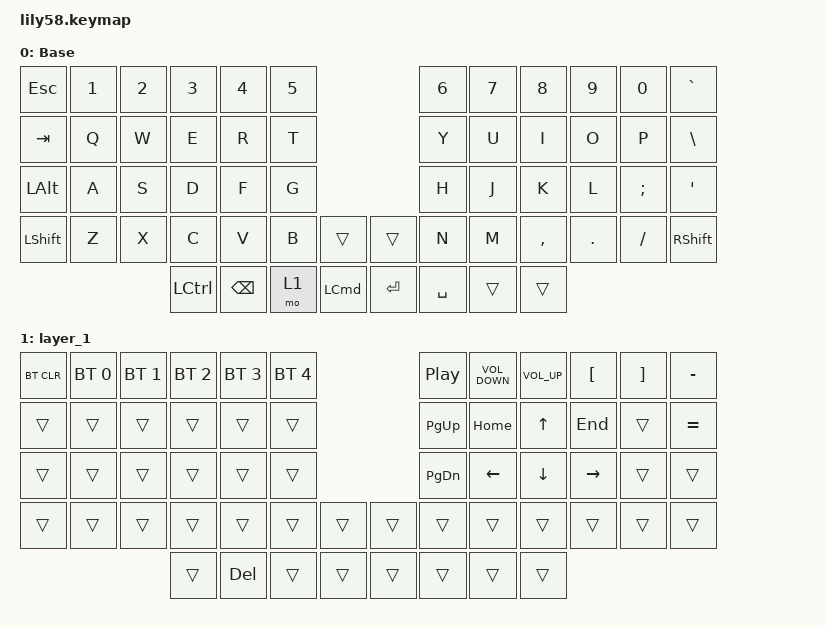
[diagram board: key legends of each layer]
/*
 * Copyright (c) 2020 The ZMK Contributors
 *
 * SPDX-License-Identifier: MIT
 */

#include <behaviors.dtsi>
#include <dt-bindings/zmk/bt.h>
#include <dt-bindings/zmk/keys.h>

/ {
    keymap {
        compatible = "zmk,keymap";

        layer_0 {
            // ------------------------------------------------------------------------------------------------------------
            // |  ESC  |  1  |  2  |  3   |  4   |  5   |                   |  6   |  7    |  8    |  9   |   0   |   `   |
            // |  TAB  |  Q  |  W  |  E   |  R   |  T   |                   |  Y   |  U    |  I    |  O   |   P   |   -   |
            // |  CTRL |  A  |  S  |  D   |  F   |  G   |                   |  H   |  J    |  K    |  L   |   ;   |   '   |
            // | SHIFT |  Z  |  X  |  C   |  V   |  B   |   "["  |  |  "]"  |  N   |  M    |  ,    |  .   |   /   | SHIFT |
            //                     | ALT  | GUI  | LOWER|  SPACE |  | ENTER | RAISE| BSPC  | GUI   |

            label = "Base";
            bindings = <
&kp ESC       &kp N1  &kp N2  &kp N3            &kp N4         &kp N5                                 &kp N6     &kp N7  &kp N8     &kp N9   &kp N0    &kp GRAVE
&kp TAB       &kp Q   &kp W   &kp E             &kp R          &kp T                                  &kp Y      &kp U   &kp I      &kp O    &kp P     &kp BACKSLASH
&kp LEFT_ALT  &kp A   &kp S   &kp D             &kp F          &kp G                                  &kp H      &kp J   &kp K      &kp L    &kp SEMI  &kp SQT
&kp LSHFT     &kp Z   &kp X   &kp C             &kp V          &kp B   &trans              &trans     &kp N      &kp M   &kp COMMA  &kp DOT  &kp FSLH  &kp RSHFT
                              &kp LEFT_CONTROL  &kp BACKSPACE  &mo 1   &kp LEFT_COMMAND    &kp ENTER  &kp SPACE  &trans  &trans
            >;
        };

        layer_1 {
            bindings = <
&bt BT_CLR  &bt BT_SEL 0  &bt BT_SEL 1  &bt BT_SEL 2  &bt BT_SEL 3  &bt BT_SEL 4                    &kp C_PLAY_PAUSE  &kp C_VOLUME_DOWN  &kp C_VOLUME_UP  &kp LEFT_BRACKET  &kp RIGHT_BRACKET  &kp MINUS
&trans      &trans        &trans        &trans        &trans        &trans                          &kp PAGE_UP       &kp HOME           &kp UP           &kp END           &trans             &kp EQUAL
&trans      &trans        &trans        &trans        &trans        &trans                          &kp PAGE_DOWN     &kp LEFT           &kp DOWN         &kp RIGHT         &trans             &trans
&trans      &trans        &trans        &trans        &trans        &trans        &trans    &trans  &trans            &trans             &trans           &trans            &trans             &trans
                                        &trans        &kp DELETE    &trans        &trans    &trans  &trans            &trans             &trans
            >;
        };
    };
};
